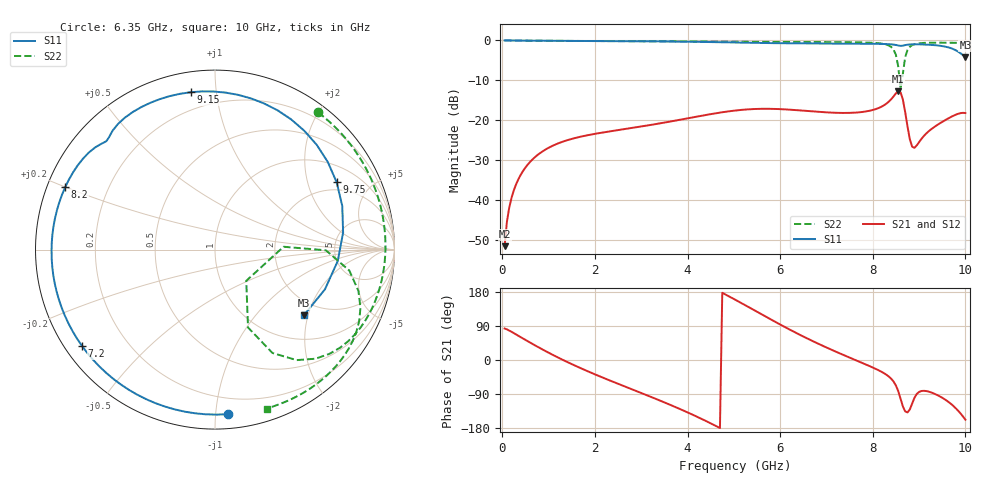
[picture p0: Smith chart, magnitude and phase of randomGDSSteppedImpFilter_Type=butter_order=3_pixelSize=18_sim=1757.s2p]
! freq	dB(S11)	phase(S11)	dB(S12)	phase(S12)
!  dB(S21)	phase(S21)	dB(S22)	phase(S22)
!S-par simulation data
#  GHz  S  DB  R 50
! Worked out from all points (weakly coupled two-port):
!   200 points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, 50 MHz to 10 GHz, reference 50 ohm
!   highest |S21| = -12.73 dB at 8.55 GHz (marker M1); lowest = -51.6 dB at 50 MHz (marker M2)
!   lowest |S11| = -4.2 dB at 10 GHz (marker M3), VSWR 4.21, Z = 80.2 - j94.3 ohm
!   |S11| at or under -10 dB: nowhere
!   |S22| runs from -12.2 to 0.0 dB; largest |S21 - S12| = 0
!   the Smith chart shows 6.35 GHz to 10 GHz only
!   S11 on the Smith chart (normalised r, x): 6.35 GHz: 0.09, -1.07; 7.2 GHz: 0.05, -0.32; 8.2 GHz: 0.05, +0.20; 9.15 GHz: 0.10, +0.85; 9.75 GHz: 1.64, +3.07; 10 GHz: 1.60, -1.89
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0.05  -0.00 -4.6  -51.62 83.1  -51.62 83.1  -0.00 -2.9
0.2  -0.02 -18.2  -39.46 74.4  -39.46 74.4  -0.01 -11.7
0.5  -0.06 -44.6  -31.88 53.0  -31.88 53.0  -0.04 -28.9
1.05  -0.11 -88.3  -26.63 16.1  -26.63 16.1  -0.08 -59.7
1.75  -0.14 -134.2  -24.00 -24.7  -24.00 -24.7  -0.13 -96.6
2.55  -0.18 -178.5  -22.41 -65.2  -22.41 -65.2  -0.17 -135.5
3.4  -0.24 136.1  -20.81 -106.8  -20.81 -106.8  -0.22 -174.3
4.3  -0.36 80.5  -18.90 -155.2  -18.90 -155.2  -0.29 145.5
5.05  -0.52 23.1  -17.56 157.8  -17.56 157.8  -0.35 111.8
5.6  -0.63 -23.9  -17.15 120.5  -17.15 120.5  -0.38 86.9
6.35  -0.73 -85.7  -17.48 71.2  -17.48 71.2  -0.39 53.1
6.7  -0.75 -111.3  -17.80 50.0  -17.80 50.0  -0.40 37.5
7.2  -0.77 -144.2  -18.15 22.1  -18.15 22.1  -0.41 15.6
8.2  -0.87 157.3  -16.55 -31.9  -16.55 -31.9  -0.80 -31.2
8.35  -0.94 148.5  -15.31 -44.0  -15.31 -44.0  -1.29 -42.4
8.55  -1.27 136.9  -12.73 -82.1  -12.73 -82.1  -6.53 -67.0
8.6  -1.36 135.0  -13.00 -102.1  -13.00 -102.1  -12.17 -45.0
8.65  -1.30 133.3  -14.83 -122.5  -14.83 -122.5  -8.35 2.4
8.85  -0.98 120.7  -26.66 -115.0  -26.66 -115.0  -1.18 -21.8
9.15  -1.04 98.8  -23.40 -81.9  -23.40 -81.9  -0.59 -41.8
9.75  -2.22 28.9  -18.84 -122.4  -18.84 -122.4  -0.59 -64.4
10  -4.21 -36.3  -18.21 -157.5  -18.21 -157.5  -0.62 -72.0
